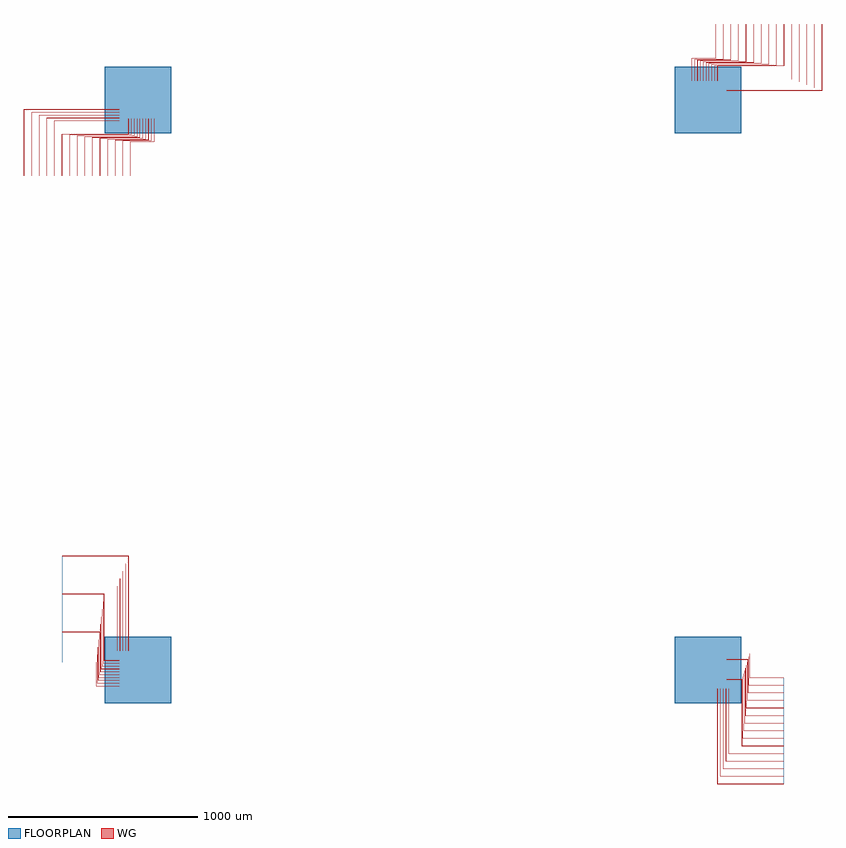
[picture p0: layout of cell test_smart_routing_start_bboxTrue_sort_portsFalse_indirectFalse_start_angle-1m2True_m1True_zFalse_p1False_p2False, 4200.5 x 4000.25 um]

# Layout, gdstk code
import gdstk
lib = gdstk.Library(unit=1e-6, precision=1e-09)
def R(c, l, rs):  # rectangles x0, y0, x1, y1
    for r in rs: c.add(gdstk.rectangle(r[:2], r[2:], *l))
def P(c, l, *ps):  # polygons
    for p in ps: c.add(gdstk.Polygon(p, *l))
WG = (1, 0)
FLOORPLAN = (10, 0)

test_smart_routing_start = lib.new_cell('test_smart_routing_start_bboxTrue_sort_portsFalse_indirectFalse_start_angle-1m2True_m1True_zFalse_p1False_p2False')
P(test_smart_routing_start, WG, [(-50.25,100),(-50.25,599.75),(-400,599.75),(-400,600.25),(-49.75,600.25),(-49.75,100)],
  [(-65.25,100),(-65.25,559.75),(-400,559.75),(-400,560.25),(-64.75,560.25),(-64.75,100)],
  [(-80.25,100),(-80.25,519.75),(-400,519.75),(-400,520.25),(-79.75,520.25),(-79.75,100)],
  [(-95.25,100),(-95.25,479.75),(-400,479.75),(-400,480.25),(-94.75,480.25),(-94.75,100)],
  [(-110.25,100),(-110.25,439.75),(-400,439.75),(-400,440.25),(-109.75,440.25),(-109.75,100)],
  [(-179.5,49.75),(-179.5,399.75),(-400,399.75),(-400,400.25),(-179,400.25),(-179,50.25),(-100,50.25),(-100,49.75)],
  [(-184,34.75),(-184,359.75),(-400,359.75),(-400,360.25),(-183.5,360.25),(-183.5,35.25),(-100,35.25),(-100,34.75)],
  [(-188.5,19.75),(-188.5,319.75),(-400,319.75),(-400,320.25),(-188,320.25),(-188,20.25),(-100,20.25),(-100,19.75)],
  [(-193,4.75),(-193,279.75),(-400,279.75),(-400,280.25),(-192.5,280.25),(-192.5,5.25),(-100,5.25),(-100,4.75)],
  [(-197.5,-10.25),(-197.5,239.75),(-400,239.75),(-400,240.25),(-197,240.25),(-197,-9.75),(-100,-9.75),(-100,-10.25)],
  [(-202,-25.25),(-202,199.75),(-400,199.75),(-400,200.25),(-201.5,200.25),(-201.5,-24.75),(-100,-24.75),(-100,-25.25)],
  [(-206.5,-40.25),(-206.5,159.75),(-400,159.75),(-400,160.25),(-206,160.25),(-206,-39.75),(-100,-39.75),(-100,-40.25)],
  [(-211,-55.25),(-211,119.75),(-400,119.75),(-400,120.25),(-210.5,120.25),(-210.5,-54.75),(-100,-54.75),(-100,-55.25)],
  [(-215.5,-70.25),(-215.5,79.75),(-400,79.75),(-400,80.25),(-215,80.25),(-215,-69.75),(-100,-69.75),(-100,-70.25)],
  [(-220,-85.25),(-220,39.75),(-400,39.75),(-400,40.25),(-219.5,40.25),(-219.5,-84.75),(-100,-84.75),(-100,-85.25)],
  [(-600.25,2600),(-600.25,2950.25),(-100,2950.25),(-100,2949.75),(-599.75,2949.75),(-599.75,2600)],
  [(-560.25,2600),(-560.25,2935.25),(-100,2935.25),(-100,2934.75),(-559.75,2934.75),(-559.75,2600)],
  [(-520.25,2600),(-520.25,2920.25),(-100,2920.25),(-100,2919.75),(-519.75,2919.75),(-519.75,2600)],
  [(-480.25,2600),(-480.25,2905.25),(-100,2905.25),(-100,2904.75),(-479.75,2904.75),(-479.75,2600)],
  [(-440.25,2600),(-440.25,2890.25),(-100,2890.25),(-100,2889.75),(-439.75,2889.75),(-439.75,2600)],
  [(-400.25,2600),(-400.25,2821),(-50.25,2821),(-50.25,2900),(-49.75,2900),(-49.75,2820.5),(-399.75,2820.5),(-399.75,2600)],
  [(-360.25,2600),(-360.25,2816.5),(-35.25,2816.5),(-35.25,2900),(-34.75,2900),(-34.75,2816),(-359.75,2816),(-359.75,2600)],
  [(-320.25,2600),(-320.25,2812),(-20.25,2812),(-20.25,2900),(-19.75,2900),(-19.75,2811.5),(-319.75,2811.5),(-319.75,2600)],
  [(-280.25,2600),(-280.25,2807.5),(-5.25,2807.5),(-5.25,2900),(-4.75,2900),(-4.75,2807),(-279.75,2807),(-279.75,2600)],
  [(-240.25,2600),(-240.25,2803),(9.75,2803),(9.75,2900),(10.25,2900),(10.25,2802.5),(-239.75,2802.5),(-239.75,2600)],
  [(-200.25,2600),(-200.25,2798.5),(24.75,2798.5),(24.75,2900),(25.25,2900),(25.25,2798),(-199.75,2798),(-199.75,2600)],
  [(-160.25,2600),(-160.25,2794),(39.75,2794),(39.75,2900),(40.25,2900),(40.25,2793.5),(-159.75,2793.5),(-159.75,2600)],
  [(-120.25,2600),(-120.25,2789.5),(54.75,2789.5),(54.75,2900),(55.25,2900),(55.25,2789),(-119.75,2789),(-119.75,2600)],
  [(-80.25,2600),(-80.25,2785),(69.75,2785),(69.75,2900),(70.25,2900),(70.25,2784.5),(-79.75,2784.5),(-79.75,2600)],
  [(-40.25,2600),(-40.25,2780.5),(84.75,2780.5),(84.75,2900),(85.25,2900),(85.25,2780),(-39.75,2780),(-39.75,2600)],
  [(3049.75,-600.25),(3049.75,-100),(3050.25,-100),(3050.25,-599.75),(3400,-599.75),(3400,-600.25)],
  [(3064.75,-560.25),(3064.75,-100),(3065.25,-100),(3065.25,-559.75),(3400,-559.75),(3400,-560.25)],
  [(3079.75,-520.25),(3079.75,-100),(3080.25,-100),(3080.25,-519.75),(3400,-519.75),(3400,-520.25)],
  [(3094.75,-480.25),(3094.75,-100),(3095.25,-100),(3095.25,-479.75),(3400,-479.75),(3400,-480.25)],
  [(3109.75,-440.25),(3109.75,-100),(3110.25,-100),(3110.25,-439.75),(3400,-439.75),(3400,-440.25)],
  [(3179,-400.25),(3179,-50.25),(3100,-50.25),(3100,-49.75),(3179.5,-49.75),(3179.5,-399.75),(3400,-399.75),(3400,-400.25)],
  [(3183.5,-360.25),(3183.5,-35.25),(3100,-35.25),(3100,-34.75),(3184,-34.75),(3184,-359.75),(3400,-359.75),(3400,-360.25)],
  [(3188,-320.25),(3188,-20.25),(3100,-20.25),(3100,-19.75),(3188.5,-19.75),(3188.5,-319.75),(3400,-319.75),(3400,-320.25)],
  [(3192.5,-280.25),(3192.5,-5.25),(3100,-5.25),(3100,-4.75),(3193,-4.75),(3193,-279.75),(3400,-279.75),(3400,-280.25)],
  [(3197,-240.25),(3197,9.75),(3100,9.75),(3100,10.25),(3197.5,10.25),(3197.5,-239.75),(3400,-239.75),(3400,-240.25)],
  [(3201.5,-200.25),(3201.5,24.75),(3100,24.75),(3100,25.25),(3202,25.25),(3202,-199.75),(3400,-199.75),(3400,-200.25)],
  [(3206,-160.25),(3206,39.75),(3100,39.75),(3100,40.25),(3206.5,40.25),(3206.5,-159.75),(3400,-159.75),(3400,-160.25)],
  [(3210.5,-120.25),(3210.5,54.75),(3100,54.75),(3100,55.25),(3211,55.25),(3211,-119.75),(3400,-119.75),(3400,-120.25)],
  [(3215,-80.25),(3215,69.75),(3100,69.75),(3100,70.25),(3215.5,70.25),(3215.5,-79.75),(3400,-79.75),(3400,-80.25)],
  [(3219.5,-40.25),(3219.5,84.75),(3100,84.75),(3100,85.25),(3220,85.25),(3220,-39.75),(3400,-39.75),(3400,-40.25)],
  [(3100,3049.75),(3100,3050.25),(3599.75,3050.25),(3599.75,3400),(3600.25,3400),(3600.25,3049.75)],
  [(3100,3064.75),(3100,3065.25),(3559.75,3065.25),(3559.75,3400),(3560.25,3400),(3560.25,3064.75)],
  [(3100,3079.75),(3100,3080.25),(3519.75,3080.25),(3519.75,3400),(3520.25,3400),(3520.25,3079.75)],
  [(3100,3094.75),(3100,3095.25),(3479.75,3095.25),(3479.75,3400),(3480.25,3400),(3480.25,3094.75)],
  [(3100,3109.75),(3100,3110.25),(3439.75,3110.25),(3439.75,3400),(3440.25,3400),(3440.25,3109.75)],
  [(3049.75,3100),(3049.75,3179.5),(3399.75,3179.5),(3399.75,3400),(3400.25,3400),(3400.25,3179),(3050.25,3179),(3050.25,3100)],
  [(3034.75,3100),(3034.75,3184),(3359.75,3184),(3359.75,3400),(3360.25,3400),(3360.25,3183.5),(3035.25,3183.5),(3035.25,3100)],
  [(3019.75,3100),(3019.75,3188.5),(3319.75,3188.5),(3319.75,3400),(3320.25,3400),(3320.25,3188),(3020.25,3188),(3020.25,3100)],
  [(3004.75,3100),(3004.75,3193),(3279.75,3193),(3279.75,3400),(3280.25,3400),(3280.25,3192.5),(3005.25,3192.5),(3005.25,3100)],
  [(2989.75,3100),(2989.75,3197.5),(3239.75,3197.5),(3239.75,3400),(3240.25,3400),(3240.25,3197),(2990.25,3197),(2990.25,3100)],
  [(2974.75,3100),(2974.75,3202),(3199.75,3202),(3199.75,3400),(3200.25,3400),(3200.25,3201.5),(2975.25,3201.5),(2975.25,3100)],
  [(2959.75,3100),(2959.75,3206.5),(3159.75,3206.5),(3159.75,3400),(3160.25,3400),(3160.25,3206),(2960.25,3206),(2960.25,3100)],
  [(2944.75,3100),(2944.75,3211),(3119.75,3211),(3119.75,3400),(3120.25,3400),(3120.25,3210.5),(2945.25,3210.5),(2945.25,3100)],
  [(2929.75,3100),(2929.75,3215.5),(3079.75,3215.5),(3079.75,3400),(3080.25,3400),(3080.25,3215),(2930.25,3215),(2930.25,3100)],
  [(2914.75,3100),(2914.75,3220),(3039.75,3220),(3039.75,3400),(3040.25,3400),(3040.25,3219.5),(2915.25,3219.5),(2915.25,3100)])
R(test_smart_routing_start, FLOORPLAN, [(-175,-175,175,175), (2825,-175,3175,175), (-175,2825,175,3175), (2825,2825,3175,3175)])
P(test_smart_routing_start, FLOORPLAN, [(-400,40),(-400,600),(-400,600),(-400,40)],
  [(-600,2600),(-600,2600),(-40,2600),(-40,2600)],
  [(3400,-600),(3400,-40),(3400,-40),(3400,-600)],
  [(3040,3400),(3040,3400),(3600,3400),(3600,3400)])

lib.write_gds('test_smart_routing_start_bboxTrue_sort_portsFalse_indirectFalse_start_angle-1m2True_m1True_zFalse_p1False_p2False.gds')
